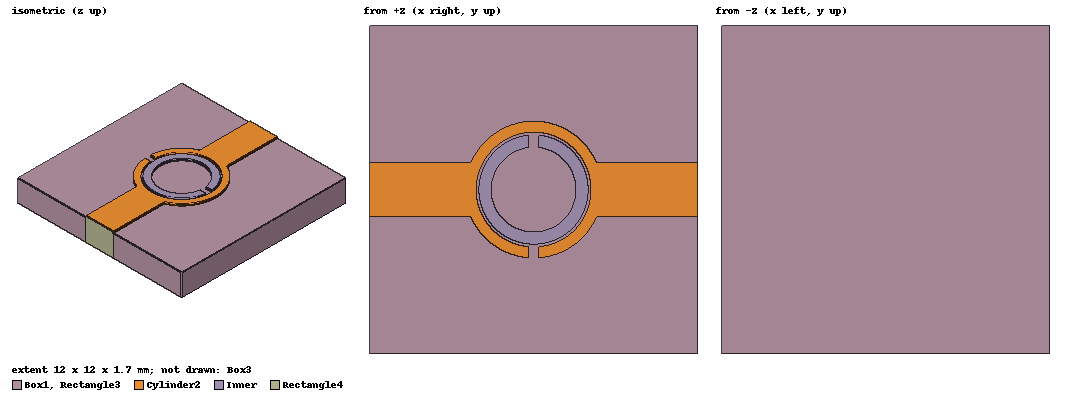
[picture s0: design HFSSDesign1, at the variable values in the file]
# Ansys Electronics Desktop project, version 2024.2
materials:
  vacuum: permittivity=1
  FR4_epoxy: permittivity=4.4 dielectric_loss_tangent=0.02
  copper: permeability=0.999991 conductivity=58000000
  air: permittivity=1.0006 permeability=1.0000004

design HFSSDesign1 (HFSS, HFSS Terminal Network, model units mm)
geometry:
  Box1 [FR4_epoxy] = box(corner=(0mm, 0mm, 0mm), size=(12mm, 12mm, 1.6mm))
  Cylinder1 = cylinder(axis=Z, base_centre=(6mm, 6mm, 1.6mm), radius=2.1mm, height=0.1mm)
  Cylinder2 [copper] = cylinder(axis=Z, base_centre=(6mm, 6mm, 1.6mm), radius=2.5mm, height=0.1mm)
  Slit = box(corner=(5.8mm, 1.5mm, 1.6mm), size=(0.4mm, 4mm, 0.1mm))
  Box2 = box(corner=(0mm, 5mm, 1.6mm), size=(12mm, 2mm, 0.1mm))
  Box3 [air] = box(corner=(-1mm, -1mm, -5mm), size=(15mm, 15mm, 9.5mm))
  Rectangle3 = rectangle(corner=(0mm, 0mm, 0mm), x_size=12mm, y_size=12mm)
  Cylinder2.subtract(Cylinder1)
  Box4 = box(corner=(3.9mm, 7mm, 1.6mm), size=(4.2mm, -2mm, 0.2mm))
  Cylinder2.subtract(Slit)
  Rectangle4 = rectangle(corner=(12mm, 5mm, 1.7mm), y_size=2mm, z_size=-1.7mm)
  Rectangle5 = rectangle(corner=(0mm, 7mm, 1.7mm), y_size=-2mm, z_size=-1.7mm)
  Box2.subtract(Box4)
  Cylinder2.unite(Box2)
  Inner [copper] = cylinder(axis=Z, base_centre=(6mm, 6mm, 1.6mm), radius=2mm, height=0.1mm)
  Cylinder3 = cylinder(axis=Z, base_centre=(6mm, 6mm, 1.6mm), radius=1.55mm, height=0.1mm)
  Inner.subtract(Cylinder3)
  Box5 = box(corner=(5.8mm, 8mm, 1.6mm), size=(0.4mm, -1.5mm, 0.1mm))
  Inner.subtract(Box5)
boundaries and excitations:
  PerfE5: Perfect E Objects=Rectangle3
  Rad1: Radiation Objects=Box3
  PerfE6: Perfect E Objects=Cylinder2
  PerfE7: Perfect E Objects=Inner
  1: Lumped Port Objects=Rectangle4 LumpedPortType=Modal Modes{Mode1{IntLine{(12, 6, 0) -> (12, 6, 1.7)} CharImp=Zpi}} Impedance=50ohm
  2: Lumped Port Objects=Rectangle5 LumpedPortType=Modal Modes{Mode1{IntLine{(0, 6.2, 0) -> (0, 6.2, 1.6)} CharImp=Zpi}} Impedance=50ohm
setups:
  Setup1: HfssDriven Frequency=5GHz MaxDeltaS=0.02 MaximumPasses=10 MinimumPasses=1 MinimumConvergedPasses=1 PercentRefinement=30 BasisOrder=1 PortAccuracy=2 DrivenSolverType="Direct Solver"
    sweep Sweep: 1GHz to 10GHz, 401 points; Type=Fast SaveFields
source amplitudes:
  1:1: 1V 0deg
  2:1: 0V 0deg
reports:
  S Parameter Plot 1: dB(S(1,1)), dB(S(2,1)) vs Freq on Setup1 : Sweep; markers m1 at 4.96GHz, m4 at 4.96GHz
  Z Parameter Plot 1: dB20(Z(1,1)), dB20(Z(2,1)) vs Freq on Setup1 : Sweep; markers m1 at 5.005GHz
